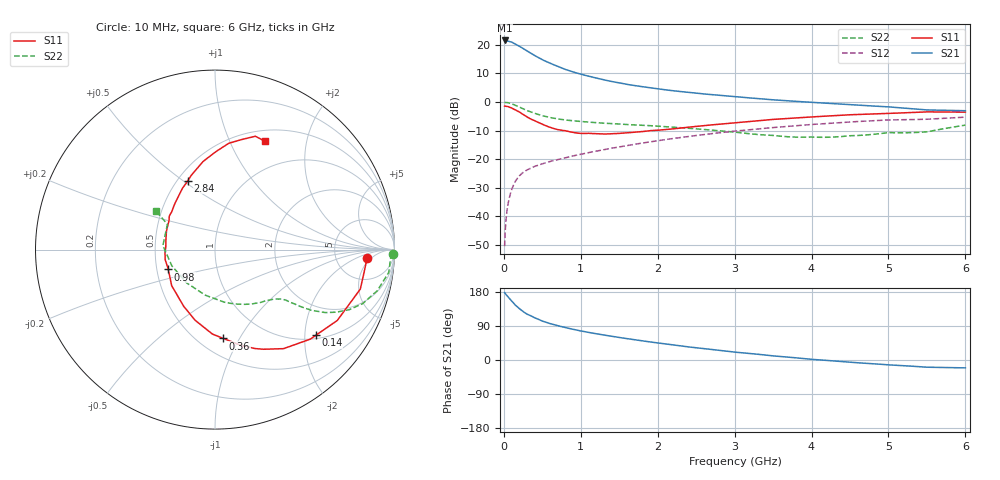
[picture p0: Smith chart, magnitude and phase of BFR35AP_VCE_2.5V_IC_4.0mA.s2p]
! Infineon Technologies  Discrete & RF Semiconductors
! BFR35AP
! VCE =  2.5 V,  IC =  4.0 mA
! Common Emitter S-Parameters:  Nov 2015
# GHz  S  MA  R  50
!  f  S11  S21  S12  S22
! GHz  MAG  ANG  MAG  ANG  MAG  ANG  MAG  ANG
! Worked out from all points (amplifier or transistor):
!   210 points, 10 MHz to 6 GHz, reference 50 ohm
!   highest |S21| = 21.5 dB at 10 MHz (marker M1)
!   |S21| within 3 dB of that: start of sweep to 262.5 MHz
!   unconditionally stable (mu >= 1): 858.2 MHz to 3.899 GHz
!   at 185 MHz: K = 0.33, MSG = 23.1 dB, |S12| = -26.4 dB
!   at 1.52 GHz: K = 1.14, MAG = 8.8 dB, |S12| = -15.6 dB
!   at 6 GHz: K = 0.99, MSG = 1.1 dB, |S12| = -5.3 dB
!   S11 on the Smith chart (normalised r, x): 10 MHz: 11, -4; 140 MHz: 1.09, -2.27; 360 MHz: 0.65, -0.86; 980 MHz: 0.57, -0.14; 2.84 GHz: 0.56, +0.52; 6 GHz: 0.63, +1.37
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0.01  0.8485 -3.2  11.92 177.6  0.003 87.1  0.9932 -1.4
0.04  0.8382 -12.2  11.72 170.0  0.0122 83.5  0.9769 -6.0
0.1  0.7874 -30.1  11.2 156.0  0.029 74.0  0.9328 -14.2
0.14  0.7371 -40.4  10.47 147.1  0.0386 68.3  0.8865 -18.9
0.15  0.7286 -43.2  10.33 144.7  0.041 67.3  0.8759 -20.1
0.2  0.6712 -55.3  9.488 135.9  0.0508 63.2  0.818 -24.2
0.24  0.6172 -64.1  8.807 129.5  0.057 59.9  0.7705 -26.7
0.3  0.5479 -75.6  7.835 121.2  0.0645 57.1  0.7083 -29.7
0.36  0.4969 -84.7  7.007 115.8  0.0705 54.9  0.6619 -31.2
0.4  0.471 -91.7  6.498 111.4  0.0746 53.7  0.6313 -32.3
0.5  0.4086 -105.8  5.475 102.7  0.0827 52.3  0.5751 -33.6
0.6  0.3605 -119.0  4.764 96.1  0.091 52.1  0.5344 -34.4
0.8  0.3139 -140.3  3.71 85.4  0.1057 52.6  0.4837 -35.5
0.98  0.2833 -157.0  3.118 77.6  0.1199 53.0  0.4586 -36.9
1.02  0.2813 -161.0  3.016 76.0  0.1231 53.1  0.4538 -37.3
1.4  0.2784 169.7  2.282 62.6  0.155 53.6  0.4191 -41.8
2.02  0.3217 138.2  1.686 44.5  0.212 51.4  0.3762 -52.5
2.84  0.4131 111.5  1.299 24.6  0.293 44.7  0.3103 -74.3
3.1  0.4443 105.7  1.208 19.0  0.3183 41.7  0.2868 -83.9
4.1  0.557 87.8  0.967 0.4  0.412 29.6  0.2412 -136.3
5.1  0.6382 75.1  0.801 -13.9  0.487 15.6  0.2891 170.8
6  0.6646 65.1  0.703 -20.8  0.5429 5.2  0.3937 146.9
